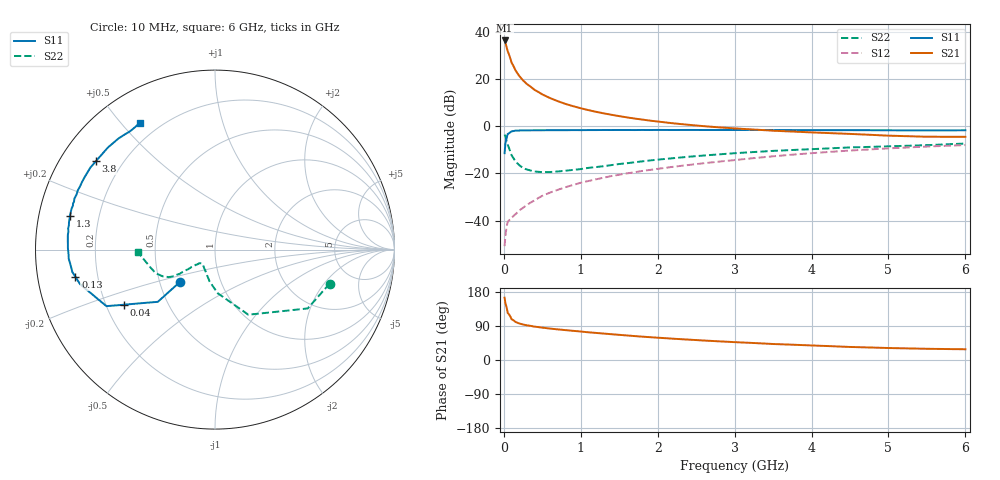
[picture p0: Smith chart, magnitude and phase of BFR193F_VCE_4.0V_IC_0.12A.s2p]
! Infineon Technologies  Discrete & RF Semiconductors
! BFR193F
! VCE =  4.0 V,  IC = 0.12 A
! Common Emitter S-Parameters:  Jan 2017
# GHz  S  MA  R  50
!  f  S11  S21  S12  S22
! GHz  MAG  ANG  MAG  ANG  MAG  ANG  MAG  ANG
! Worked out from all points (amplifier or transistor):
!   77 points, 10 MHz to 6 GHz, reference 50 ohm
!   highest |S21| = 36.3 dB at 10 MHz (marker M1)
!   |S21| within 3 dB of that: start of sweep to 37.24 MHz
!   unconditionally stable (mu >= 1): start of sweep to 14.98 MHz; 235.5 MHz to 3.217 GHz
!   at 130 MHz: K = 0.81, MSG = 31.5 dB, |S12| = -37.9 dB
!   at 2.2 GHz: K = 1.10, MAG = 7.3 dB, |S12| = -17.2 dB
!   at 6 GHz: K = 0.96, MSG = 1.7 dB, |S12| = -8.0 dB
!   S11 on the Smith chart (normalised r, x): 10 MHz: 0.63, -0.25; 40 MHz: 0.27, -0.26; 130 MHz: 0.12, -0.10; 1.3 GHz: 0.09, +0.11; 3.8 GHz: 0.11, +0.33; 6 GHz: 0.13, +0.56
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0.01  0.2688 -137.3  65.02 164.4  0.0029 73.0  0.6663 -16.5
0.02  0.4317 -137.6  58.78 149.9  0.0048 60.3  0.6118 -32.4
0.04  0.595 -148.9  44.24 135.3  0.0079 53.2  0.4592 -49.9
0.05  0.6822 -152.5  38.64 124.2  0.0095 51.4  0.4075 -62.9
0.06  0.6978 -155.4  35.19 122.1  0.0099 51.1  0.3712 -65.9
0.1  0.7758 -165.6  22.22 107.5  0.0115 50.3  0.2438 -86.4
0.13  0.7921 -168.9  18.02 104.0  0.0128 53.3  0.2047 -93.2
0.15  0.8044 -171.0  15.27 100.6  0.0137 55.0  0.1809 -99.4
0.2  0.8098 -174.2  11.57 96.4  0.0165 57.7  0.1498 -107.2
0.25  0.8164 -176.4  9.291 93.6  0.0188 62.9  0.13 -114.3
0.3  0.8164 -178.0  7.778 91.5  0.0217 66.2  0.1212 -119.4
0.4  0.8195 179.5  5.847 88.0  0.027 70.3  0.11 -126.6
0.5  0.8204 177.6  4.702 85.4  0.0337 73.0  0.1067 -130.8
0.7  0.8239 174.2  3.383 80.8  0.0451 75.9  0.1102 -136.2
1.1  0.8278 169.3  2.185 73.1  0.0694 77.8  0.1315 -140.4
1.3  0.8302 167.0  1.865 69.7  0.0815 78.0  0.1428 -141.8
2.1  0.8317 159.2  1.202 57.6  0.1317 77.7  0.2032 -144.7
3.1  0.8307 150.3  0.878 46.2  0.1995 75.0  0.2744 -147.3
3.8  0.8265 143.5  0.764 40.0  0.2533 71.5  0.3161 -151.5
4.1  0.824 140.5  0.728 37.6  0.2758 69.6  0.3323 -154.0
5.1  0.8176 129.7  0.624 31.2  0.3456 62.3  0.3794 -166.5
6  0.82 120.7  0.596 28.3  0.3987 55.6  0.4297 -178.0
